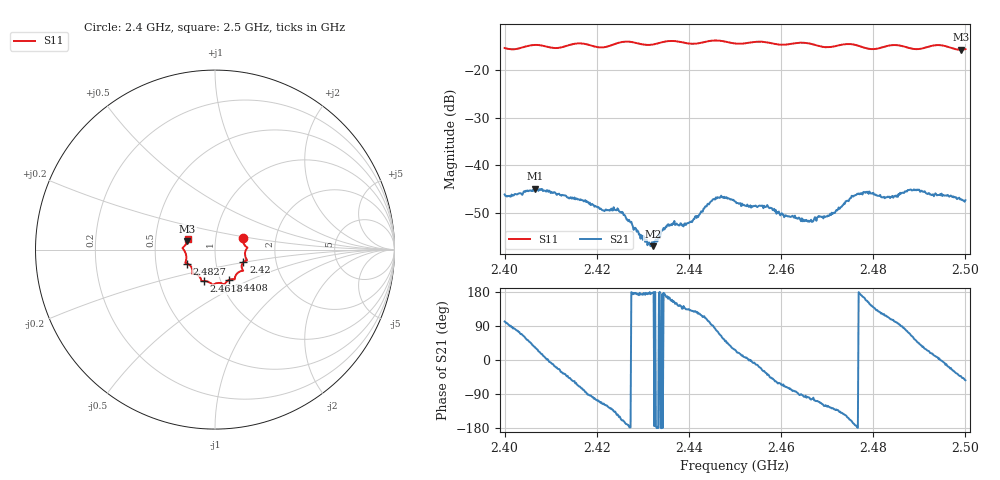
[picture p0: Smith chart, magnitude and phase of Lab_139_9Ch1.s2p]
# Hz S RI R 50
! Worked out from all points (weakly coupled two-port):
!   601 points, 2.4 GHz to 2.5 GHz, reference 50 ohm
!   highest |S21| = -44.85 dB at 2.4067 GHz (marker M1); lowest = -56.9 dB at 2.4322 GHz (marker M2)
!   lowest |S11| = -15.9 dB at 2.499 GHz (marker M3), VSWR 1.38, Z = 36.5 + j3.52 ohm
!   |S11| at or under -10 dB: start of sweep to end of sweep
!   S12 and S22 are empty: the file has one direction only
!   S11 on the Smith chart (normalised r, x): 2.4 GHz: 1.36, +0.17; 2.42 GHz: 1.36, -0.19; 2.4408 GHz: 1.10, -0.39; 2.4618 GHz: 0.84, -0.30; 2.4827 GHz: 0.72, -0.12; 2.5 GHz: 0.73, +0.09
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2.4e9  0.1565 0.0619  -0.00099 0.00487  0 0  0 0
2.406667e9  0.1808 0.0114  0.00485 0.00304  0 0  0 0
2.416667e9  0.1783 -0.0595  0.00114 -0.0042  0 0  0 0
2.42e9  0.1581 -0.0695  -0.000992 -0.00358  0 0  0 0
2.425e9  0.155 -0.1138  -0.00281 -0.00167  0 0  0 0
2.4295e9  0.1402 -0.1216  -0.0017 0.000216  0 0  0 0
2.432167e9  0.1166 -0.1412  -0.00143 7.43e-05  0 0  0 0
2.433333e9  0.1118 -0.1521  -0.00176 -1.16e-05  0 0  0 0
2.4355e9  0.1106 -0.1652  -0.00231 0.000773  0 0  0 0
2.440833e9  0.079 -0.1689  -0.0017 0.00204  0 0  0 0
2.445667e9  0.0522 -0.195  0.00051 0.00437  0 0  0 0
2.45e9  0.0278 -0.1858  0.00375 0.0019  0 0  0 0
2.461833e9  -0.0601 -0.1751  0.000672 -0.00284  0 0  0 0
2.466667e9  -0.0769 -0.1685  -0.000589 -0.00251  0 0  0 0
2.471333e9  -0.1085 -0.1364  -0.00196 -0.00253  0 0  0 0
2.476333e9  -0.126 -0.129  -0.00489 -0.000576  0 0  0 0
2.482667e9  -0.1568 -0.0779  -0.00209 0.00413  0 0  0 0
2.483333e9  -0.161 -0.0764  -0.00177 0.00432  0 0  0 0
2.489333e9  -0.1606 -0.0318  0.00347 0.00426  0 0  0 0
2.494167e9  -0.1805 0.00895  0.00489 0.000254  0 0  0 0
2.499e9  -0.1542 0.0469  0.0033 -0.003  0 0  0 0
2.5e9  -0.1518 0.0616  0.00258 -0.00348  0 0  0 0
